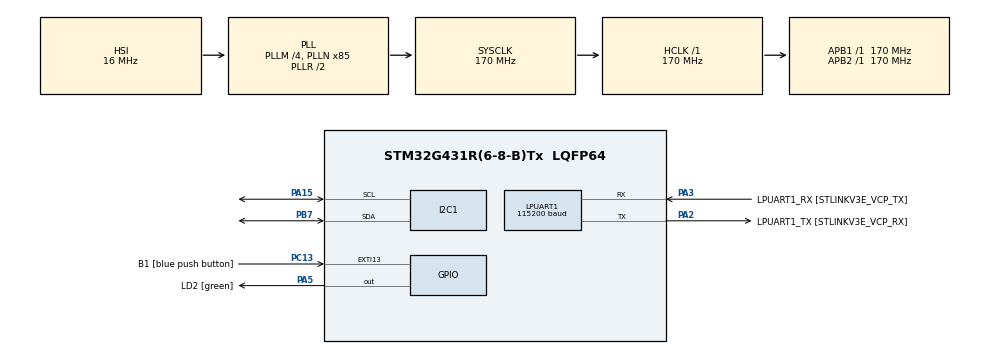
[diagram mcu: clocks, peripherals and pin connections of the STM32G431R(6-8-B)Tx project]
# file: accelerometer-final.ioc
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I2C1.Timing=0x30A0A7FB
LPUART1.BaudRate=115200
LPUART1.WordLength=UART_WORDLENGTH_8B
Mcu.Family=STM32G4
Mcu.Name=STM32G431R(6-8-B)Tx
Mcu.Package=LQFP64
NVIC.PriorityGroup=NVIC_PRIORITYGROUP_4
PA13.GPIO_Label=T_SWDIO
PA13.Mode=Serial_Wire
PA13.Signal=SYS_JTMS-SWDIO
PA14.GPIO_Label=T_SWCLK
PA14.Mode=Serial_Wire
PA14.Signal=SYS_JTCK-SWCLK
PA15.Mode=I2C
PA15.Signal=I2C1_SCL
PA2.GPIO_Label=LPUART1_TX [STLINKV3E_VCP_RX]
PA2.Mode=Asynchronous
PA2.Signal=LPUART1_TX
PA3.GPIO_Label=LPUART1_RX [STLINKV3E_VCP_TX]
PA3.Mode=Asynchronous
PA3.Signal=LPUART1_RX
PA5.GPIO_Label=LD2 [green]
PA5.Signal=GPIO_Output
PB3.GPIO_Label=T_SWO
PB3.Signal=SYS_JTDO-SWO
PB7.Mode=I2C
PB7.Signal=I2C1_SDA
PC13.GPIO_Label=B1 [blue push button]
PC13.Signal=GPXTI13
PC14-OSC32_IN.Mode=LSE-External-Oscillator
PC14-OSC32_IN.Signal=RCC_OSC32_IN
PC15-OSC32_OUT.Mode=LSE-External-Oscillator
PC15-OSC32_OUT.Signal=RCC_OSC32_OUT
PF0-OSC_IN.Mode=HSE-External-Oscillator
PF0-OSC_IN.Signal=RCC_OSC_IN
PF1-OSC_OUT.Mode=HSE-External-Oscillator
PF1-OSC_OUT.Signal=RCC_OSC_OUT
ProjectManager.HeapSize=0x200
ProjectManager.StackSize=0x400
ProjectManager.TargetToolchain=STM32CubeIDE
RCC.ADC12Freq_Value=170000000
RCC.AHBFreq_Value=170000000
RCC.APB1Freq_Value=170000000
RCC.APB1TimFreq_Value=170000000
RCC.APB2Freq_Value=170000000
RCC.APB2TimFreq_Value=170000000
RCC.CortexFreq_Value=170000000
RCC.EXTERNAL_CLOCK_VALUE=12288000
RCC.HCLKFreq_Value=170000000
RCC.HSE_VALUE=24000000
RCC.HSI48_VALUE=48000000
RCC.HSI_VALUE=16000000
RCC.PLLM=RCC_PLLM_DIV4
RCC.PLLN=85
RCC.RTCClockSelection=RCC_RTCCLKSOURCE_LSE
RCC.SYSCLKFreq_VALUE=170000000
RCC.SYSCLKSource=RCC_SYSCLKSOURCE_PLLCLK
RCC.USBFreq_Value=170000000
RCC.VCOOutputFreq_Value=340000000
VP_SYS_VS_DBSignals.Mode=DisableDeadBatterySignals
board=NUCLEO-G431RB

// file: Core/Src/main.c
/* USER CODE BEGIN Header */
/**
  ******************************************************************************
  * @file           : main.c
  * @brief          : Main program body
  ******************************************************************************
  * @attention
  *
  * Copyright (c) 2024 STMicroelectronics.
  * All rights reserved.
  *
  * This software is licensed under terms that can be found in the LICENSE file
  * in the root directory of this software component.
  * If no LICENSE file comes with this software, it is provided AS-IS.
  *
  ******************************************************************************
  */
/* USER CODE END Header */
#include "main.h"

/* USER CODE BEGIN PD */

#define TODO 0

/* USER CODE END PD */

I2C_HandleTypeDef hi2c1;

UART_HandleTypeDef hlpuart1;

/* USER CODE BEGIN PV */
/*We want to configure the DATA_FORMAT register such that
 * the device is in full resolution mode, right justified mode,
 * and a g range of +-16. The other settings are irrelevant and
 * may be set to 0. Come up with a binary number to write to the
 * register to get these desired behaviors.*/

/* USER CODE END PV */

void SystemClock_Config(void);
static void MX_GPIO_Init(void);
static void MX_LPUART1_UART_Init(void);
static void MX_I2C1_Init(void);

/* USER CODE BEGIN 0 */

void i2c_read(uint8_t dev_addr, uint8_t mem_addr, uint8_t* buf, uint16_t size) {
	I2C_HandleTypeDef *i2c = &hi2c1;
	HAL_StatusTypeDef status;
	status = HAL_I2C_Mem_Read(i2c, dev_addr << 1, mem_addr, 1, buf, size, 100);

	if (status != HAL_OK)
	{
		uint32_t x = HAL_I2C_GetError(&hi2c1);
		HAL_I2C_DeInit(i2c);
		HAL_Delay(5);
		HAL_I2C_Init(i2c);
	}
}

// TODO - Read through this function to see how to read a byte via I2C
void i2c_write(uint8_t dev_addr, uint8_t mem_addr, uint8_t* buf, uint16_t size) {
	I2C_HandleTypeDef *i2c = &hi2c1;
	HAL_StatusTypeDef status;
	status = HAL_I2C_Mem_Write(i2c, dev_addr << 1, mem_addr, 1, buf, size, 100);

	if (status != HAL_OK)
	{
		HAL_I2C_DeInit(i2c);
		HAL_Delay(5);
		HAL_I2C_Init(i2c);
	}
}

float get_decimal(uint8_t addr, uint8_t lsb_reg, uint8_t msb_reg) {
	const float mg_to_ms2 = 0.00980665;

	// Read from the lsb register and msb register
	uint8_t accel_buf[2];
	i2c_read(addr, lsb_reg, accel_buf, 2);
	uint8_t lsb_val = accel_buf[0];
	uint8_t msb_val = accel_buf[1];

	// Combine the lsb and msb val by doing the following:
	// TODO - 1) shift the most significant byte value 8 bits to the left and
	uint16_t shifted_msb = msb_val << 8;;
	// TODO - 2) OR'ing it with the lsb val
	uint16_t combined_val = lsb_val | shifted_msb;

	// Scale data based on values in the accelerometer library.
	// TODO - Find the scale factor (can be found in the data sheet under Data Format Register section).
	float scale_mg = 16;
    float scale_ms2 = scale_mg * mg_to_ms2;
	float scaled_data = combined_val * scale_ms2;

	return scaled_data;
}

/* USER CODE END 0 */

int main(void)
{

  /* MCU Configuration--------------------------------------------------------*/

  /* Reset of all peripherals, Initializes the Flash interface and the Systick. */
  HAL_Init();

  /* Configure the system clock */
  SystemClock_Config();

  /* Initialize all configured peripherals */
  MX_GPIO_Init();
  MX_LPUART1_UART_Init();
  MX_I2C1_Init();
  /* USER CODE BEGIN 2 */

  // TODO - Find the i2c dev address in the data sheet
  	// const int i2c_dev_address = <insert address val here>;
  	const uint8_t i2c_dev_address = 0x53;

  	// TODO - Read through this section for the registers.
  	const uint8_t x_lsb_reg = 0x32;
  	const uint8_t x_msb_reg = 0x33;
  	const uint8_t y_lsb_reg = 0x34;
  	const uint8_t y_msb_reg = 0x35;
  	const uint8_t z_lsb_reg = 0x36;
  	const uint8_t z_msb_reg = 0x37;

  	const uint8_t power_ctrl_reg = 0x2D;
  	const uint8_t data_format_reg = 0x31;

  	// Formats output data - Must be done before waking device
  	// TODO - Format data so that the output range is full resolution +/- 16g
  	const uint8_t data_format_val = 0b00001011;
  	uint8_t buf[1] = {data_format_val};
  	i2c_write(i2c_dev_address, data_format_reg, buf, 1);

  	// Clear the link bit from power ctrl reg before waking up
  	buf[0] = 0b00000000;
  	i2c_write(i2c_dev_address, power_ctrl_reg, buf, 1);

  	// Wakes the accelerometer from sleep mode.
  	// TODO - Write the values to wake the accelerometer from sleep mode
  	const uint8_t power_ctrl_val = 0b00001000;
  	buf[0] = power_ctrl_val;
  	i2c_write(i2c_dev_address, power_ctrl_reg, buf, 1);

  /* USER CODE END 2 */

  /* Infinite loop */
  while (1)
  {
	float x_val = get_decimal(i2c_dev_address, x_lsb_reg, x_msb_reg);
	float y_val = get_decimal(i2c_dev_address, y_lsb_reg, y_msb_reg);
	float z_val = get_decimal(i2c_dev_address, z_lsb_reg, z_msb_reg);
  }
}

void SystemClock_Config(void)
{
  RCC_OscInitTypeDef RCC_OscInitStruct = {0};
  RCC_ClkInitTypeDef RCC_ClkInitStruct = {0};

  /** Configure the main internal regulator output voltage
  */
  HAL_PWREx_ControlVoltageScaling(PWR_REGULATOR_VOLTAGE_SCALE1_BOOST);

  /** Initializes the RCC Oscillators according to the specified parameters
  * in the RCC_OscInitTypeDef structure.
  */
  RCC_OscInitStruct.OscillatorType = RCC_OSCILLATORTYPE_HSI;
  RCC_OscInitStruct.HSIState = RCC_HSI_ON;
  RCC_OscInitStruct.HSICalibrationValue = RCC_HSICALIBRATION_DEFAULT;
  RCC_OscInitStruct.PLL.PLLState = RCC_PLL_ON;
  RCC_OscInitStruct.PLL.PLLSource = RCC_PLLSOURCE_HSI;
  RCC_OscInitStruct.PLL.PLLM = RCC_PLLM_DIV4;
  RCC_OscInitStruct.PLL.PLLN = 85;
  RCC_OscInitStruct.PLL.PLLP = RCC_PLLP_DIV2;
  RCC_OscInitStruct.PLL.PLLQ = RCC_PLLQ_DIV2;
  RCC_OscInitStruct.PLL.PLLR = RCC_PLLR_DIV2;
  if (HAL_RCC_OscConfig(&RCC_OscInitStruct) != HAL_OK)
  {
    Error_Handler();
  }

  /** Initializes the CPU, AHB and APB buses clocks
  */
  RCC_ClkInitStruct.ClockType = RCC_CLOCKTYPE_HCLK|RCC_CLOCKTYPE_SYSCLK
                              |RCC_CLOCKTYPE_PCLK1|RCC_CLOCKTYPE_PCLK2;
  RCC_ClkInitStruct.SYSCLKSource = RCC_SYSCLKSOURCE_PLLCLK;
  RCC_ClkInitStruct.AHBCLKDivider = RCC_SYSCLK_DIV1;
  RCC_ClkInitStruct.APB1CLKDivider = RCC_HCLK_DIV1;
  RCC_ClkInitStruct.APB2CLKDivider = RCC_HCLK_DIV1;

  if (HAL_RCC_ClockConfig(&RCC_ClkInitStruct, FLASH_LATENCY_4) != HAL_OK)
  {
    Error_Handler();
  }
}

static void MX_I2C1_Init(void)
{

  hi2c1.Instance = I2C1;
  hi2c1.Init.Timing = 0x30A0A7FB;
  hi2c1.Init.OwnAddress1 = 0;
  hi2c1.Init.AddressingMode = I2C_ADDRESSINGMODE_7BIT;
  hi2c1.Init.DualAddressMode = I2C_DUALADDRESS_DISABLE;
  hi2c1.Init.OwnAddress2 = 0;
  hi2c1.Init.OwnAddress2Masks = I2C_OA2_NOMASK;
  hi2c1.Init.GeneralCallMode = I2C_GENERALCALL_DISABLE;
  hi2c1.Init.NoStretchMode = I2C_NOSTRETCH_DISABLE;
  if (HAL_I2C_Init(&hi2c1) != HAL_OK)
  {
    Error_Handler();
  }

  /** Configure Analogue filter
  */
  if (HAL_I2CEx_ConfigAnalogFilter(&hi2c1, I2C_ANALOGFILTER_ENABLE) != HAL_OK)
  {
    Error_Handler();
  }

  /** Configure Digital filter
  */
  if (HAL_I2CEx_ConfigDigitalFilter(&hi2c1, 0) != HAL_OK)
  {
    Error_Handler();
  }

}

static void MX_LPUART1_UART_Init(void)
{

  hlpuart1.Instance = LPUART1;
  hlpuart1.Init.BaudRate = 115200;
  hlpuart1.Init.WordLength = UART_WORDLENGTH_8B;
  hlpuart1.Init.StopBits = UART_STOPBITS_1;
  hlpuart1.Init.Parity = UART_PARITY_NONE;
  hlpuart1.Init.Mode = UART_MODE_TX_RX;
  hlpuart1.Init.HwFlowCtl = UART_HWCONTROL_NONE;
  hlpuart1.Init.OneBitSampling = UART_ONE_BIT_SAMPLE_DISABLE;
  hlpuart1.Init.ClockPrescaler = UART_PRESCALER_DIV1;
  hlpuart1.AdvancedInit.AdvFeatureInit = UART_ADVFEATURE_NO_INIT;
  if (HAL_UART_Init(&hlpuart1) != HAL_OK)
  {
    Error_Handler();
  }
  if (HAL_UARTEx_SetTxFifoThreshold(&hlpuart1, UART_TXFIFO_THRESHOLD_1_8) != HAL_OK)
  {
    Error_Handler();
  }
  if (HAL_UARTEx_SetRxFifoThreshold(&hlpuart1, UART_RXFIFO_THRESHOLD_1_8) != HAL_OK)
  {
    Error_Handler();
  }
  if (HAL_UARTEx_DisableFifoMode(&hlpuart1) != HAL_OK)
  {
    Error_Handler();
  }

}

static void MX_GPIO_Init(void)
{
  GPIO_InitTypeDef GPIO_InitStruct = {0};

  /* GPIO Ports Clock Enable */
  __HAL_RCC_GPIOC_CLK_ENABLE();
  __HAL_RCC_GPIOF_CLK_ENABLE();
  __HAL_RCC_GPIOA_CLK_ENABLE();
  __HAL_RCC_GPIOB_CLK_ENABLE();

  /*Configure GPIO pin Output Level */
  HAL_GPIO_WritePin(LD2_GPIO_Port, LD2_Pin, GPIO_PIN_RESET);

  /*Configure GPIO pin : B1_Pin */
  GPIO_InitStruct.Pin = B1_Pin;
  GPIO_InitStruct.Mode = GPIO_MODE_IT_RISING;
  GPIO_InitStruct.Pull = GPIO_NOPULL;
  HAL_GPIO_Init(B1_GPIO_Port, &GPIO_InitStruct);

  /*Configure GPIO pin : LD2_Pin */
  GPIO_InitStruct.Pin = LD2_Pin;
  GPIO_InitStruct.Mode = GPIO_MODE_OUTPUT_PP;
  GPIO_InitStruct.Pull = GPIO_NOPULL;
  GPIO_InitStruct.Speed = GPIO_SPEED_FREQ_LOW;
  HAL_GPIO_Init(LD2_GPIO_Port, &GPIO_InitStruct);

}

void Error_Handler(void)
{
  __disable_irq();
  while (1)
  {
  }
}
